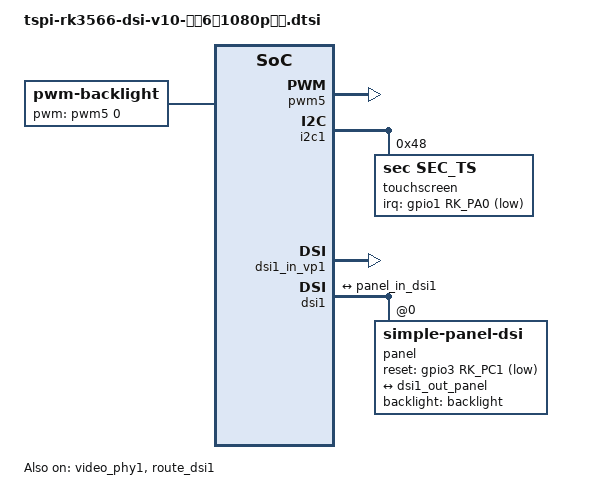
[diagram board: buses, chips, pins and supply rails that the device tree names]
// SPDX-License-Identifier: (GPL-2.0)
 /*********************************************************************
 *           立创开发板不靠卖板赚钱，以培养中国工程师为己任  
 *         泰山派软硬件资料与相关扩展板软硬件资料官网全部开源
 *                      开发板官网：www.lckfb.com            
 *                     立创论坛：oshwhub.com/forum           
 *            关注B站：【立创开发板】，掌握我们的最新动态！  
 *********************************************************************
 * 文件名：tspi-rk3566-dsi-v10.dtsi
 * 描述：mipi 屏幕
 * 更新:
 * 时间          作者           联系           说明
 * 2023-09-13   吴才成    1378913492@qq.com   v1.0.0
 * 2026-02-27   SIGMENX  sigmenx@gmail.com   v1.0.0
 *********************************************************************/
// This dtsi file fit TIANMA TL060FVXS08 2160*1080 TFT-LCD & Samsung Touch
// Touch Screen Driver : my_sec_ts/

/ {
    backlight: backlight {
        compatible = "pwm-backlight";
        pwms = <&pwm5 0 25000 0>;
        brightness-levels = <
              0  1 2 3 4 5 6 7 8 9 
			  10 11 12 13 14 15 16 17 18 19
              20 21 22 23 24 25 26 27 28 29 
              30 31 32 33 34 35 36 37 38 39 
			  40 41 42 43 44 45 46 47 48 49
			  50 51 52 53 54 55 56 57 58 59 
			  60 61 62 63 64 65 66 67 68 69
			  70 71 72 73 74 75 76 77 78 79
			  80 81 82 83 84 85 86 87 88 89
			  90 91 92 93 94 95 96 97 98 99 
			  100 101 102 103 104 105 106 107 108 109
			  110 111 112 113 114 115 116 117 118 119
 			  120 121 122 123 124 125 126 127 128 
			  128 128 256
        >;
        default-brightness-level = <50>;
    };
};

&pwm5 {
    status = "okay";
};

/* --- 引脚复用配置 --- */
&pinctrl {
    /* 屏幕复位引脚 */
    dsi-panel {
        panel_rst_pin: panel-rst-pin {
            rockchip,pins = <3 RK_PC1 RK_FUNC_GPIO &pcfg_pull_none>;
        };
    };

    /* 触摸屏中断引脚 */
    touchscreen {
        ts_irq_pin: ts-irq-pin {
            rockchip,pins = <1 RK_PA0 RK_FUNC_GPIO &pcfg_pull_up>;
        };
    };
};

/* --- I2C 触摸屏配置 --- */
&i2c1 {
    status = "okay";

    touchscreen@48 {
        compatible = "sec,sec_ts";
        reg = <0x48>;
        pinctrl-names = "default";
        pinctrl-0 = <&ts_irq_pin>;
        
        sec,irq_gpio = <&gpio1 RK_PA0 GPIO_ACTIVE_LOW>;
        sec,max_coords = <1080>, <2160>;
        
        status = "okay";
    };
};

/* --- 视频路径配置 --- */
&dsi1_in_vp0 { status = "disabled"; };
&dsi1_in_vp1 { status = "okay"; };
&video_phy1  { status = "okay"; };

&route_dsi1 {
    status = "okay";
    connect = <&vp1_out_dsi1>;
};

/* --- MIPI DSI 显示配置 --- */
&dsi1 {
    status = "okay";

    panel@0 {
        compatible = "simple-panel-dsi";
        reg = <0>;
        status = "okay";

        backlight = <&backlight>;
        reset-gpios = <&gpio3 RK_PC1 GPIO_ACTIVE_LOW>;
        
        pinctrl-names = "default";
        pinctrl-0 = <&panel_rst_pin>;

        prepare-delay-ms = <40>;
        reset-delay-ms = <60>;
        init-delay-ms = <80>;
        enable-delay-ms = <60>;
        disable-delay-ms = <20>;
        unprepare-delay-ms = <20>;

        width-mm = <135>;
        height-mm = <216>;

        dsi,lanes = <4>;
        dsi,format = <MIPI_DSI_FMT_RGB888>;
        dsi,flags = <(MIPI_DSI_MODE_VIDEO | MIPI_DSI_MODE_VIDEO_BURST |
                      MIPI_DSI_MODE_LPM | MIPI_DSI_MODE_EOT_PACKET | 
                      MIPI_DSI_CLOCK_NON_CONTINUOUS)>;

        panel-init-sequence = [
            05 78 01 11
            05 0A 01 29
        ];

        panel-exit-sequence = [
            05 10 01 28
            05 78 01 10
        ];

        display-timings {
            native-mode = <&dsi1_timing0>;
            dsi1_timing0: timing0 {
                clock-frequency = <157000000>;
                hactive = <1080>;
                hfront-porch = <115>;
                hback-porch = <13>;
                hsync-len = <3>;
                
                vactive = <2160>;
                vfront-porch = <10>;
                vback-porch = <10>;
                vsync-len = <2>;
                
                hsync-active = <0>;
                vsync-active = <0>;
                de-active = <0>;
                pixelclk-active = <0>;
            };
        };

        ports {
            #address-cells = <1>;
            #size-cells = <0>;
            port@0 {
                reg = <0>;
                panel_in_dsi1: endpoint {
                    remote-endpoint = <&dsi1_out_panel>;
                };
            };
        };
    };

    ports {
        #address-cells = <1>;
        #size-cells = <0>;
        port@1 {
            reg = <1>;
            dsi1_out_panel: endpoint {
                remote-endpoint = <&panel_in_dsi1>;
            };
        };
    };
};


